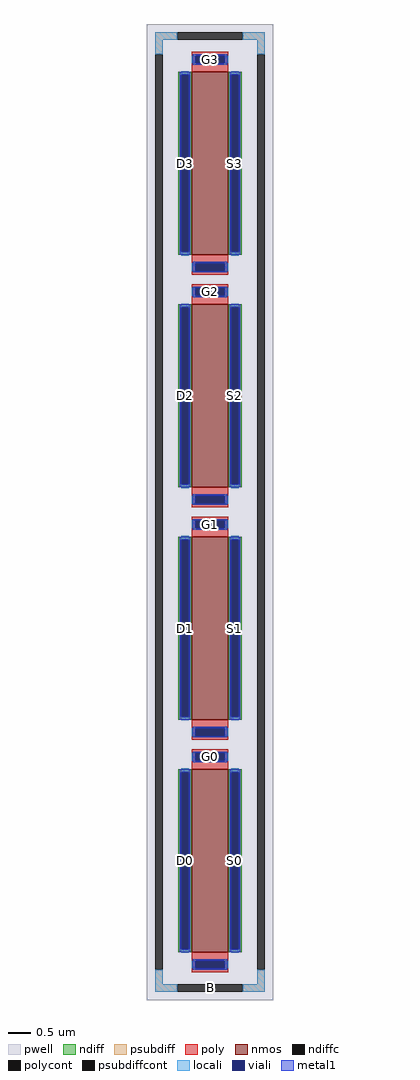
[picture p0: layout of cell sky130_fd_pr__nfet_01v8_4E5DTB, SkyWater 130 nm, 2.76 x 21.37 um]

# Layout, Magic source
magic
tech sky130A
magscale 1 2
<< pwell >>
rect -276 -2137 276 2137
<< nmos >>
rect -80 1127 80 1927
rect -80 109 80 909
rect -80 -909 80 -109
rect -80 -1927 80 -1127
<< ndiff >>
rect -138 1915 -80 1927
rect -138 1139 -126 1915
rect -92 1139 -80 1915
rect -138 1127 -80 1139
rect 80 1915 138 1927
rect 80 1139 92 1915
rect 126 1139 138 1915
rect 80 1127 138 1139
rect -138 897 -80 909
rect -138 121 -126 897
rect -92 121 -80 897
rect -138 109 -80 121
rect 80 897 138 909
rect 80 121 92 897
rect 126 121 138 897
rect 80 109 138 121
rect -138 -121 -80 -109
rect -138 -897 -126 -121
rect -92 -897 -80 -121
rect -138 -909 -80 -897
rect 80 -121 138 -109
rect 80 -897 92 -121
rect 126 -897 138 -121
rect 80 -909 138 -897
rect -138 -1139 -80 -1127
rect -138 -1915 -126 -1139
rect -92 -1915 -80 -1139
rect -138 -1927 -80 -1915
rect 80 -1139 138 -1127
rect 80 -1915 92 -1139
rect 126 -1915 138 -1139
rect 80 -1927 138 -1915
<< ndiffc >>
rect -126 1139 -92 1915
rect 92 1139 126 1915
rect -126 121 -92 897
rect 92 121 126 897
rect -126 -897 -92 -121
rect 92 -897 126 -121
rect -126 -1915 -92 -1139
rect 92 -1915 126 -1139
<< psubdiff >>
rect -240 2067 -144 2101
rect 144 2067 240 2101
rect -240 2005 -206 2067
rect 206 2005 240 2067
rect -240 -2067 -206 -2005
rect 206 -2067 240 -2005
rect -240 -2101 -144 -2067
rect 144 -2101 240 -2067
<< psubdiffcont >>
rect -144 2067 144 2101
rect -240 -2005 -206 2005
rect 206 -2005 240 2005
rect -144 -2101 144 -2067
<< poly >>
rect -80 1999 80 2015
rect -80 1965 -64 1999
rect 64 1965 80 1999
rect -80 1927 80 1965
rect -80 1089 80 1127
rect -80 1055 -64 1089
rect 64 1055 80 1089
rect -80 1039 80 1055
rect -80 981 80 997
rect -80 947 -64 981
rect 64 947 80 981
rect -80 909 80 947
rect -80 71 80 109
rect -80 37 -64 71
rect 64 37 80 71
rect -80 21 80 37
rect -80 -37 80 -21
rect -80 -71 -64 -37
rect 64 -71 80 -37
rect -80 -109 80 -71
rect -80 -947 80 -909
rect -80 -981 -64 -947
rect 64 -981 80 -947
rect -80 -997 80 -981
rect -80 -1055 80 -1039
rect -80 -1089 -64 -1055
rect 64 -1089 80 -1055
rect -80 -1127 80 -1089
rect -80 -1965 80 -1927
rect -80 -1999 -64 -1965
rect 64 -1999 80 -1965
rect -80 -2015 80 -1999
<< polycont >>
rect -64 1965 64 1999
rect -64 1055 64 1089
rect -64 947 64 981
rect -64 37 64 71
rect -64 -71 64 -37
rect -64 -981 64 -947
rect -64 -1089 64 -1055
rect -64 -1999 64 -1965
<< locali >>
rect -240 2067 -144 2101
rect 144 2067 240 2101
rect -240 2005 -206 2067
rect 206 2005 240 2067
rect -80 1965 -64 1999
rect 64 1965 80 1999
rect -126 1915 -92 1931
rect -126 1123 -92 1139
rect 92 1915 126 1931
rect 92 1123 126 1139
rect -80 1055 -64 1089
rect 64 1055 80 1089
rect -80 947 -64 981
rect 64 947 80 981
rect -126 897 -92 913
rect -126 105 -92 121
rect 92 897 126 913
rect 92 105 126 121
rect -80 37 -64 71
rect 64 37 80 71
rect -80 -71 -64 -37
rect 64 -71 80 -37
rect -126 -121 -92 -105
rect -126 -913 -92 -897
rect 92 -121 126 -105
rect 92 -913 126 -897
rect -80 -981 -64 -947
rect 64 -981 80 -947
rect -80 -1089 -64 -1055
rect 64 -1089 80 -1055
rect -126 -1139 -92 -1123
rect -126 -1931 -92 -1915
rect 92 -1139 126 -1123
rect 92 -1931 126 -1915
rect -80 -1999 -64 -1965
rect 64 -1999 80 -1965
rect -240 -2067 -206 -2005
rect 206 -2067 240 -2005
rect -240 -2101 -144 -2067
rect 144 -2101 240 -2067
<< viali >>
rect -64 1965 64 1999
rect -126 1139 -92 1915
rect 92 1139 126 1915
rect -64 1055 64 1089
rect -64 947 64 981
rect -126 121 -92 897
rect 92 121 126 897
rect -64 37 64 71
rect -64 -71 64 -37
rect -126 -897 -92 -121
rect 92 -897 126 -121
rect -64 -981 64 -947
rect -64 -1089 64 -1055
rect -126 -1915 -92 -1139
rect 92 -1915 126 -1139
rect -64 -1999 64 -1965
<< metal1 >>
rect -76 1999 76 2005
rect -76 1965 -64 1999
rect 64 1965 76 1999
rect -76 1959 76 1965
rect -132 1915 -86 1927
rect -132 1139 -126 1915
rect -92 1139 -86 1915
rect -132 1127 -86 1139
rect 86 1915 132 1927
rect 86 1139 92 1915
rect 126 1139 132 1915
rect 86 1127 132 1139
rect -76 1089 76 1095
rect -76 1055 -64 1089
rect 64 1055 76 1089
rect -76 1049 76 1055
rect -76 981 76 987
rect -76 947 -64 981
rect 64 947 76 981
rect -76 941 76 947
rect -132 897 -86 909
rect -132 121 -126 897
rect -92 121 -86 897
rect -132 109 -86 121
rect 86 897 132 909
rect 86 121 92 897
rect 126 121 132 897
rect 86 109 132 121
rect -76 71 76 77
rect -76 37 -64 71
rect 64 37 76 71
rect -76 31 76 37
rect -76 -37 76 -31
rect -76 -71 -64 -37
rect 64 -71 76 -37
rect -76 -77 76 -71
rect -132 -121 -86 -109
rect -132 -897 -126 -121
rect -92 -897 -86 -121
rect -132 -909 -86 -897
rect 86 -121 132 -109
rect 86 -897 92 -121
rect 126 -897 132 -121
rect 86 -909 132 -897
rect -76 -947 76 -941
rect -76 -981 -64 -947
rect 64 -981 76 -947
rect -76 -987 76 -981
rect -76 -1055 76 -1049
rect -76 -1089 -64 -1055
rect 64 -1089 76 -1055
rect -76 -1095 76 -1089
rect -132 -1139 -86 -1127
rect -132 -1915 -126 -1139
rect -92 -1915 -86 -1139
rect -132 -1927 -86 -1915
rect 86 -1139 132 -1127
rect 86 -1915 92 -1139
rect 126 -1915 132 -1139
rect 86 -1927 132 -1915
rect -76 -1965 76 -1959
rect -76 -1999 -64 -1965
rect 64 -1999 76 -1965
rect -76 -2005 76 -1999
<< labels >>
rlabel psubdiffcont 0 -2084 0 -2084 0 B
port 1 nsew
rlabel ndiffc -109 -1527 -109 -1527 0 D0
port 2 nsew
rlabel ndiffc 109 -1527 109 -1527 0 S0
port 3 nsew
rlabel polycont 0 -1072 0 -1072 0 G0
port 4 nsew
rlabel ndiffc -109 -509 -109 -509 0 D1
port 5 nsew
rlabel ndiffc 109 -509 109 -509 0 S1
port 6 nsew
rlabel polycont 0 -54 0 -54 0 G1
port 7 nsew
rlabel ndiffc -109 509 -109 509 0 D2
port 8 nsew
rlabel ndiffc 109 509 109 509 0 S2
port 9 nsew
rlabel polycont 0 964 0 964 0 G2
port 10 nsew
rlabel ndiffc -109 1527 -109 1527 0 D3
port 11 nsew
rlabel ndiffc 109 1527 109 1527 0 S3
port 12 nsew
rlabel polycont 0 1982 0 1982 0 G3
port 13 nsew
<< properties >>
string FIXED_BBOX -223 -2084 223 2084
string gencell sky130_fd_pr__nfet_01v8
string library sky130
string parameters w 4.0 l 0.8 m 4 nf 1 diffcov 100 polycov 100 guard 1 glc 1 grc 1 gtc 1 gbc 1 tbcov 100 rlcov 100 topc 1 botc 1 poverlap 0 doverlap 1 lmin 0.15 wmin 0.42 class mosfet compatible {sky130_fd_pr__nfet_01v8 sky130_fd_pr__nfet_01v8_lvt  sky130_fd_bs_flash__special_sonosfet_star  sky130_fd_pr__nfet_g5v0d10v5 sky130_fd_pr__nfet_05v0_nvt  sky130_fd_pr__nfet_03v3_nvt} full_metal 1 conn_gates 0 viasrc 100 viadrn 100 viagate 100 viagb 0 viagr 0 viagl 0 viagt 0 doports 1
<< end >>
